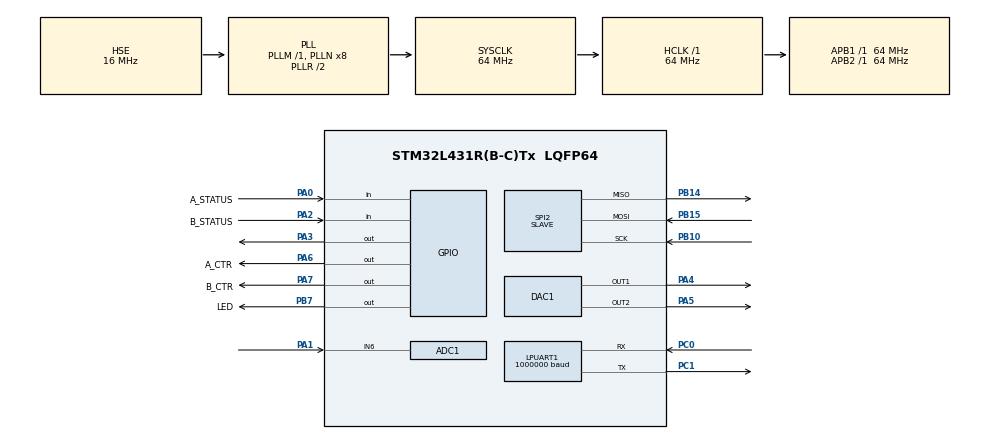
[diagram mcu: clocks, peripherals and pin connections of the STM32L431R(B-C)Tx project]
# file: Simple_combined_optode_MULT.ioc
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ADC1.Channel-3\#ChannelRegularConversion=ADC_CHANNEL_6
ADC1.NbrOfConversionFlag=1
ADC1.OffsetNumber-3\#ChannelRegularConversion=ADC_OFFSET_NONE
ADC1.Rank-3\#ChannelRegularConversion=1
ADC1.Resolution=ADC_RESOLUTION_12B
ADC1.SamplingTime-3\#ChannelRegularConversion=ADC_SAMPLETIME_2CYCLES_5
ADC1.master=1
DAC1.DAC_Channel-DAC_OUT2=DAC_CHANNEL_2
LPUART1.BaudRate=1000000
LPUART1.WordLength=UART_WORDLENGTH_8B
Mcu.Family=STM32L4
Mcu.Name=STM32L431R(B-C)Tx
Mcu.Package=LQFP64
NVIC.PriorityGroup=NVIC_PRIORITYGROUP_4
NVIC.TIM1_UP_TIM16_IRQn=true\:0\:0\:false\:false\:true\:true\:true
PA0.GPIO_Label=A_STATUS
PA0.Signal=GPIO_Input
PA1.Signal=ADCx_IN6
PA13\ (JTMS-SWDIO).Mode=Serial_Wire
PA13\ (JTMS-SWDIO).Signal=SYS_JTMS-SWDIO
PA14\ (JTCK-SWCLK).Mode=Serial_Wire
PA14\ (JTCK-SWCLK).Signal=SYS_JTCK-SWCLK
PA2.GPIO_Label=B_STATUS
PA2.Signal=GPIO_Input
PA3.Signal=GPIO_Output
PA4.Signal=COMP_DAC11_group
PA5.Signal=COMP_DAC12_group
PA6.GPIO_Label=A_CTR
PA6.Signal=GPIO_Output
PA7.GPIO_Label=B_CTR
PA7.Signal=GPIO_Output
PB10.Mode=Full_Duplex_Slave
PB10.Signal=SPI2_SCK
PB12.Signal=SPI2_NSS
PB14.Mode=Full_Duplex_Slave
PB14.Signal=SPI2_MISO
PB15.Mode=Full_Duplex_Slave
PB15.Signal=SPI2_MOSI
PB7.GPIO_Label=LED
PB7.Signal=GPIO_Output
PC0.Mode=Asynchronous
PC0.Signal=LPUART1_RX
PC1.Mode=Asynchronous
PC1.Signal=LPUART1_TX
PC14-OSC32_IN\ (PC14).Mode=LSE-External-Oscillator
PC14-OSC32_IN\ (PC14).Signal=RCC_OSC32_IN
PC15-OSC32_OUT\ (PC15).Mode=LSE-External-Oscillator
PC15-OSC32_OUT\ (PC15).Signal=RCC_OSC32_OUT
PH0-OSC_IN\ (PH0).Mode=HSE-External-Oscillator
PH0-OSC_IN\ (PH0).Signal=RCC_OSC_IN
PH1-OSC_OUT\ (PH1).Mode=HSE-External-Oscillator
PH1-OSC_OUT\ (PH1).Signal=RCC_OSC_OUT
ProjectManager.HeapSize=0x200
ProjectManager.StackSize=0x400
ProjectManager.TargetToolchain=STM32CubeIDE
RCC.ADCCLockSelection=RCC_ADCCLKSOURCE_SYSCLK
RCC.ADCFreq_Value=64000000
RCC.AHBFreq_Value=64000000
RCC.APB1Freq_Value=64000000
RCC.APB1TimFreq_Value=64000000
RCC.APB2Freq_Value=64000000
RCC.APB2TimFreq_Value=64000000
RCC.CortexFreq_Value=64000000
RCC.FLatency-AdvancedSettings=FLASH_LATENCY_3
RCC.HCLKFreq_Value=64000000
RCC.HSE_VALUE=16000000
RCC.HSI48_VALUE=48000000
RCC.HSI_VALUE=16000000
RCC.LPUART1CLockSelection=RCC_LPUART1CLKSOURCE_SYSCLK
RCC.MSIAutoCalibration-AdvancedSettings=ENABLED
RCC.MSI_VALUE=4000000
RCC.PLLSourceVirtual=RCC_PLLSOURCE_HSE
RCC.SYSCLKFreq_VALUE=64000000
RCC.SYSCLKSource=RCC_SYSCLKSOURCE_PLLCLK
RCC.VCOOutputFreq_Value=128000000
SH.ADCx_IN6.0=ADC1_IN6,IN6-Single-Ended
SH.COMP_DAC11_group.0=DAC1_OUT1,DAC_OUT1
SH.COMP_DAC12_group.0=DAC1_OUT2,DAC_OUT2
SPI2.CLKPhase=SPI_PHASE_2EDGE
SPI2.DataSize=SPI_DATASIZE_8BIT
SPI2.Direction=SPI_DIRECTION_2LINES
SPI2.FirstBit=SPI_FIRSTBIT_LSB
SPI2.Mode=SPI_MODE_SLAVE
SPI2.VirtualType=VM_SLAVE
TIM16.Period=200-1
TIM16.Prescaler=500-1
VP_TIM16_VS_ClockSourceINT.Mode=Enable_Timer
board=custom

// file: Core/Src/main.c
/* USER CODE BEGIN Header */
/**
  ******************************************************************************
  * @file           : main.c
  * @brief          : This code is for the averaging mode in combined setup of multiple optodes.
  * @Author			: UG Chathura Jayasankha
  ******************************************************************************
  * @attention
  *
  * <h2><center>&copy; Copyright (c) 2022 STMicroelectronics.
  * All rights reserved.</center></h2>
  *
  * This software component is licensed by ST under BSD 3-Clause license,
  * the "License"; You may not use this file except in compliance with the
  * License. You may obtain a copy of the License at:
  *                        opensource.org/licenses/BSD-3-Clause
  *
  ******************************************************************************
  */
/* USER CODE END Header */
#include "main.h"

/* USER CODE BEGIN Includes */
#include <stdio.h>
#include <string.h>

/* USER CODE END Includes */

/* USER CODE BEGIN PD */
#define BUFFERSIZE 16
/* USER CODE END PD */

ADC_HandleTypeDef hadc1;

DAC_HandleTypeDef hdac1;

UART_HandleTypeDef hlpuart1;

SPI_HandleTypeDef hspi2;

TIM_HandleTypeDef htim16;

/* USER CODE BEGIN PV */
uint16_t DAC_val = 4000;

// following counter is used to iterate over the new samples.
//when it incremented, new adc readings will be taken
//when it hits multiples of 10 or so, it changes the state of the corresponding led
//when it hits multiples of 100 or so, it changes the LED on action.
int sample_counter = 0;
int sample_counter_prev = 0;

uint16_t active_channel = ((uint16_t)0x0040);  //((uint16_t)0x0080) for channel 2
uint16_t inactive_channel = ((uint16_t)0x0040);  //((uint16_t)0x0080) for channel 2
int channel_state = GPIO_PIN_SET; //GPIO_PIN_RESET

/* USER CODE END PV */

void SystemClock_Config(void);
static void MX_GPIO_Init(void);
static void MX_ADC1_Init(void);
static void MX_DAC1_Init(void);
static void MX_TIM16_Init(void);
static void MX_LPUART1_UART_Init(void);
static void MX_SPI2_Init(void);

/* USER CODE BEGIN 0 */
uint16_t adc_reading[BUFFERSIZE];
char msg[10];
//char uart_buf[100];
//int uart_buf_len;
int total=0;
int average=0;
int fake_average=513;
char aRxBuffer[BUFFERSIZE];
/* USER CODE END 0 */

int main(void)
{

  /* MCU Configuration--------------------------------------------------------*/

  /* Reset of all peripherals, Initializes the Flash interface and the Systick. */
  HAL_Init();

  /* Configure the system clock */
  SystemClock_Config();

  /* Initialize all configured peripherals */
  MX_GPIO_Init();
  MX_ADC1_Init();
  MX_DAC1_Init();
  MX_TIM16_Init();
  MX_LPUART1_UART_Init();
  MX_SPI2_Init();
  /* USER CODE BEGIN 2 */

  // switching on led to show the fnirs start
	HAL_GPIO_WritePin(GPIOB, GPIO_PIN_7, GPIO_PIN_SET);
	HAL_Delay(500);
	HAL_GPIO_WritePin(GPIOB, GPIO_PIN_7, GPIO_PIN_RESET);
	HAL_Delay(500);
	HAL_GPIO_WritePin(GPIOB, GPIO_PIN_7, GPIO_PIN_SET);
	HAL_Delay(500);
	HAL_GPIO_WritePin(GPIOB, GPIO_PIN_7, GPIO_PIN_RESET);
	HAL_Delay(500);
	HAL_GPIO_WritePin(GPIOB, GPIO_PIN_7, GPIO_PIN_SET);
	HAL_Delay(500);
	HAL_GPIO_WritePin(GPIOB, GPIO_PIN_7, GPIO_PIN_RESET);
	HAL_Delay(500);

	HAL_GPIO_WritePin(GPIOA, GPIO_PIN_7, GPIO_PIN_SET);
	HAL_GPIO_WritePin(GPIOA, GPIO_PIN_6, GPIO_PIN_RESET);
	//usb output as a test
	//uart_buf_len = sprintf(uart_buf, "XXXTimer starting ...\r\n");
	//HAL_UART_Transmit(&hlpuart1, (uint8_t *)uart_buf, uart_buf_len, 100);
	HAL_Delay(2000);
	// HAL_UART_Transmit(huart, pData, Size, Timeout)

	//start interrupt for ADC
	HAL_ADC_Start(&hadc1);

	//start interrupt timer
	//HAL_TIM_Base_Start_IT(&htim16);

	//start DAC
	HAL_DAC_Start(&hdac1, DAC_CHANNEL_1);
	HAL_DAC_Start(&hdac1, DAC_CHANNEL_2);
	HAL_DAC_SetValue(&hdac1, DAC1_CHANNEL_1, DAC_ALIGN_12B_R, DAC_val);
	HAL_DAC_SetValue(&hdac1, DAC1_CHANNEL_2, DAC_ALIGN_12B_R, DAC_val);

	HAL_Delay(2000);

	//start LED channels
	HAL_GPIO_WritePin(GPIOA, GPIO_PIN_7, GPIO_PIN_SET);
	HAL_GPIO_WritePin(GPIOA, GPIO_PIN_6, GPIO_PIN_RESET);

	//start interrupt timer
	HAL_TIM_Base_Start_IT(&htim16);

  /* USER CODE END 2 */

  /* Infinite loop */
  while (1)
  {

    /* USER CODE BEGIN 3 */

	  if(sample_counter==sample_counter_prev+1){
		  total+=adc_reading;

		  if (sample_counter%10==0){

			  average = total/10;

			  sprintf(msg, "%hu\r\n", average);
			  HAL_UART_Transmit(&hlpuart1, (uint8_t*)msg, strlen(msg), HAL_MAX_DELAY);
			  HAL_SPI_TransmitReceive(&hspi2, (uint8_t*)&average, (uint8_t *)&aRxBuffer, sizeof(average), 10);

			  HAL_GPIO_TogglePin(GPIOA, GPIO_PIN_7);
			  HAL_GPIO_TogglePin(GPIOA, GPIO_PIN_6);

			  total=0;
			  //adc_reading = 1;
			  //sprintf(msg, "other %hu\r\n", adc_reading);
			  //HAL_UART_Transmit(&hlpuart1, (uint8_t*)msg, strlen(msg), HAL_MAX_DELAY);

		  }
		  sample_counter_prev=sample_counter;
	  }

//	  if(sample_counter==sample_counter_prev+1){
//	  		  if (sample_counter%5==0){
//	  				if(channel_state){
//	  					channel_state = GPIO_PIN_RESET;
//	  				}else{
//	  					channel_state = GPIO_PIN_SET;
//	  				}
//
//	  				if(sample_counter%100==0){
//
//	  					adc_reading = 1;
//	  					sprintf(msg, "other %hu\r\n", adc_reading);
//	  					HAL_UART_Transmit(&hlpuart1, (uint8_t*)msg, strlen(msg), HAL_MAX_DELAY);
//	  					if(active_channel == 0x0040){
//	  						active_channel = 0x0080;
//	  					}else{
//	  						active_channel = 0x0040;
//	  					}
//	  				}
//	  				HAL_GPIO_WritePin(GPIOA, active_channel, channel_state);
//	  		  }
//	  		  sample_counter_prev=sample_counter;
//	  	  }
  }
  /* USER CODE END 3 */
}

void SystemClock_Config(void)
{
  RCC_OscInitTypeDef RCC_OscInitStruct = {0};
  RCC_ClkInitTypeDef RCC_ClkInitStruct = {0};

  /** Configure the main internal regulator output voltage
  */
  if (HAL_PWREx_ControlVoltageScaling(PWR_REGULATOR_VOLTAGE_SCALE1) != HAL_OK)
  {
    Error_Handler();
  }
  /** Initializes the RCC Oscillators according to the specified parameters
  * in the RCC_OscInitTypeDef structure.
  */
  RCC_OscInitStruct.OscillatorType = RCC_OSCILLATORTYPE_HSE;
  RCC_OscInitStruct.HSEState = RCC_HSE_ON;
  RCC_OscInitStruct.PLL.PLLState = RCC_PLL_ON;
  RCC_OscInitStruct.PLL.PLLSource = RCC_PLLSOURCE_HSE;
  RCC_OscInitStruct.PLL.PLLM = 1;
  RCC_OscInitStruct.PLL.PLLN = 8;
  RCC_OscInitStruct.PLL.PLLP = RCC_PLLP_DIV7;
  RCC_OscInitStruct.PLL.PLLQ = RCC_PLLQ_DIV2;
  RCC_OscInitStruct.PLL.PLLR = RCC_PLLR_DIV2;
  if (HAL_RCC_OscConfig(&RCC_OscInitStruct) != HAL_OK)
  {
    Error_Handler();
  }
  /** Initializes the CPU, AHB and APB buses clocks
  */
  RCC_ClkInitStruct.ClockType = RCC_CLOCKTYPE_HCLK|RCC_CLOCKTYPE_SYSCLK
                              |RCC_CLOCKTYPE_PCLK1|RCC_CLOCKTYPE_PCLK2;
  RCC_ClkInitStruct.SYSCLKSource = RCC_SYSCLKSOURCE_PLLCLK;
  RCC_ClkInitStruct.AHBCLKDivider = RCC_SYSCLK_DIV1;
  RCC_ClkInitStruct.APB1CLKDivider = RCC_HCLK_DIV1;
  RCC_ClkInitStruct.APB2CLKDivider = RCC_HCLK_DIV1;

  if (HAL_RCC_ClockConfig(&RCC_ClkInitStruct, FLASH_LATENCY_3) != HAL_OK)
  {
    Error_Handler();
  }
}

static void MX_ADC1_Init(void)
{

  ADC_ChannelConfTypeDef sConfig = {0};

  /** Common config
  */
  hadc1.Instance = ADC1;
  hadc1.Init.ClockPrescaler = ADC_CLOCK_ASYNC_DIV1;
  hadc1.Init.Resolution = ADC_RESOLUTION_12B;
  hadc1.Init.DataAlign = ADC_DATAALIGN_RIGHT;
  hadc1.Init.ScanConvMode = ADC_SCAN_DISABLE;
  hadc1.Init.EOCSelection = ADC_EOC_SINGLE_CONV;
  hadc1.Init.LowPowerAutoWait = DISABLE;
  hadc1.Init.ContinuousConvMode = DISABLE;
  hadc1.Init.NbrOfConversion = 1;
  hadc1.Init.DiscontinuousConvMode = DISABLE;
  hadc1.Init.ExternalTrigConv = ADC_SOFTWARE_START;
  hadc1.Init.ExternalTrigConvEdge = ADC_EXTERNALTRIGCONVEDGE_NONE;
  hadc1.Init.DMAContinuousRequests = DISABLE;
  hadc1.Init.Overrun = ADC_OVR_DATA_PRESERVED;
  hadc1.Init.OversamplingMode = DISABLE;
  if (HAL_ADC_Init(&hadc1) != HAL_OK)
  {
    Error_Handler();
  }
  /** Configure Regular Channel
  */
  sConfig.Channel = ADC_CHANNEL_6;
  sConfig.Rank = ADC_REGULAR_RANK_1;
  sConfig.SamplingTime = ADC_SAMPLETIME_2CYCLES_5;
  sConfig.SingleDiff = ADC_SINGLE_ENDED;
  sConfig.OffsetNumber = ADC_OFFSET_NONE;
  sConfig.Offset = 0;
  if (HAL_ADC_ConfigChannel(&hadc1, &sConfig) != HAL_OK)
  {
    Error_Handler();
  }

}

static void MX_DAC1_Init(void)
{

  DAC_ChannelConfTypeDef sConfig = {0};

  /** DAC Initialization
  */
  hdac1.Instance = DAC1;
  if (HAL_DAC_Init(&hdac1) != HAL_OK)
  {
    Error_Handler();
  }
  /** DAC channel OUT1 config
  */
  sConfig.DAC_SampleAndHold = DAC_SAMPLEANDHOLD_DISABLE;
  sConfig.DAC_Trigger = DAC_TRIGGER_NONE;
  sConfig.DAC_OutputBuffer = DAC_OUTPUTBUFFER_ENABLE;
  sConfig.DAC_ConnectOnChipPeripheral = DAC_CHIPCONNECT_DISABLE;
  sConfig.DAC_UserTrimming = DAC_TRIMMING_FACTORY;
  if (HAL_DAC_ConfigChannel(&hdac1, &sConfig, DAC_CHANNEL_1) != HAL_OK)
  {
    Error_Handler();
  }
  /** DAC channel OUT2 config
  */
  if (HAL_DAC_ConfigChannel(&hdac1, &sConfig, DAC_CHANNEL_2) != HAL_OK)
  {
    Error_Handler();
  }

}

static void MX_LPUART1_UART_Init(void)
{

  hlpuart1.Instance = LPUART1;
  hlpuart1.Init.BaudRate = 1000000;
  hlpuart1.Init.WordLength = UART_WORDLENGTH_8B;
  hlpuart1.Init.StopBits = UART_STOPBITS_1;
  hlpuart1.Init.Parity = UART_PARITY_NONE;
  hlpuart1.Init.Mode = UART_MODE_TX_RX;
  hlpuart1.Init.HwFlowCtl = UART_HWCONTROL_NONE;
  hlpuart1.Init.OneBitSampling = UART_ONE_BIT_SAMPLE_DISABLE;
  hlpuart1.AdvancedInit.AdvFeatureInit = UART_ADVFEATURE_NO_INIT;
  if (HAL_UART_Init(&hlpuart1) != HAL_OK)
  {
    Error_Handler();
  }

}

static void MX_SPI2_Init(void)
{

  /* SPI2 parameter configuration*/
  hspi2.Instance = SPI2;
  hspi2.Init.Mode = SPI_MODE_SLAVE;
  hspi2.Init.Direction = SPI_DIRECTION_2LINES;
  hspi2.Init.DataSize = SPI_DATASIZE_8BIT;
  hspi2.Init.CLKPolarity = SPI_POLARITY_LOW;
  hspi2.Init.CLKPhase = SPI_PHASE_2EDGE;
  hspi2.Init.NSS = SPI_NSS_SOFT;
  hspi2.Init.FirstBit = SPI_FIRSTBIT_LSB;
  hspi2.Init.TIMode = SPI_TIMODE_DISABLE;
  hspi2.Init.CRCCalculation = SPI_CRCCALCULATION_DISABLE;
  hspi2.Init.CRCPolynomial = 7;
  hspi2.Init.CRCLength = SPI_CRC_LENGTH_DATASIZE;
  hspi2.Init.NSSPMode = SPI_NSS_PULSE_DISABLE;
  if (HAL_SPI_Init(&hspi2) != HAL_OK)
  {
    Error_Handler();
  }

}

static void MX_TIM16_Init(void)
{

  htim16.Instance = TIM16;
  htim16.Init.Prescaler = 500-1;
  htim16.Init.CounterMode = TIM_COUNTERMODE_UP;
  htim16.Init.Period = 200-1;
  htim16.Init.ClockDivision = TIM_CLOCKDIVISION_DIV1;
  htim16.Init.RepetitionCounter = 0;
  htim16.Init.AutoReloadPreload = TIM_AUTORELOAD_PRELOAD_DISABLE;
  if (HAL_TIM_Base_Init(&htim16) != HAL_OK)
  {
    Error_Handler();
  }

}

static void MX_GPIO_Init(void)
{
  GPIO_InitTypeDef GPIO_InitStruct = {0};

  /* GPIO Ports Clock Enable */
  __HAL_RCC_GPIOC_CLK_ENABLE();
  __HAL_RCC_GPIOH_CLK_ENABLE();
  __HAL_RCC_GPIOA_CLK_ENABLE();
  __HAL_RCC_GPIOB_CLK_ENABLE();

  /*Configure GPIO pin Output Level */
  HAL_GPIO_WritePin(GPIOA, GPIO_PIN_3|A_CTR_Pin|B_CTR_Pin, GPIO_PIN_RESET);

  /*Configure GPIO pin Output Level */
  HAL_GPIO_WritePin(LED_GPIO_Port, LED_Pin, GPIO_PIN_RESET);

  /*Configure GPIO pins : A_STATUS_Pin B_STATUS_Pin */
  GPIO_InitStruct.Pin = A_STATUS_Pin|B_STATUS_Pin;
  GPIO_InitStruct.Mode = GPIO_MODE_INPUT;
  GPIO_InitStruct.Pull = GPIO_NOPULL;
  HAL_GPIO_Init(GPIOA, &GPIO_InitStruct);

  /*Configure GPIO pins : PA3 A_CTR_Pin B_CTR_Pin */
  GPIO_InitStruct.Pin = GPIO_PIN_3|A_CTR_Pin|B_CTR_Pin;
  GPIO_InitStruct.Mode = GPIO_MODE_OUTPUT_PP;
  GPIO_InitStruct.Pull = GPIO_NOPULL;
  GPIO_InitStruct.Speed = GPIO_SPEED_FREQ_LOW;
  HAL_GPIO_Init(GPIOA, &GPIO_InitStruct);

  /*Configure GPIO pin : LED_Pin */
  GPIO_InitStruct.Pin = LED_Pin;
  GPIO_InitStruct.Mode = GPIO_MODE_OUTPUT_PP;
  GPIO_InitStruct.Pull = GPIO_NOPULL;
  GPIO_InitStruct.Speed = GPIO_SPEED_FREQ_LOW;
  HAL_GPIO_Init(LED_GPIO_Port, &GPIO_InitStruct);

}

/* USER CODE BEGIN 4 */
//Interrupt service routine for periodic timer interrupt
void HAL_TIM_PeriodElapsedCallback(TIM_HandleTypeDef *htim){
	if (htim==&htim16){

		//start ADC
		HAL_ADC_Start(&hadc1);

		//increment counter
		sample_counter+=1;
	    HAL_GPIO_TogglePin(GPIOB, GPIO_PIN_7);

		//Read ADC reading
		HAL_ADC_PollForConversion(&hadc1, HAL_MAX_DELAY);
		adc_reading = HAL_ADC_GetValue(&hadc1);

//		sprintf(msg, "__%hu\r\n", adc_reading);
//		HAL_UART_Transmit(&hlpuart1, (uint8_t*)msg, strlen(msg), HAL_MAX_DELAY);

		//sprintf(msg, "Reading is %hu\r\n", adc_reading);
		//sprintf(msg, "%hu\r\n", sample_counter);

		//HAL_UART_Transmit(&hlpuart1, (uint8_t*)msg, strlen(msg), HAL_MAX_DELAY);
	}
}
/* USER CODE END 4 */

void Error_Handler(void)
{
  __disable_irq();
  while (1)
  {
  }
}

/************************ (C) COPYRIGHT STMicroelectronics *****END OF FILE****/
